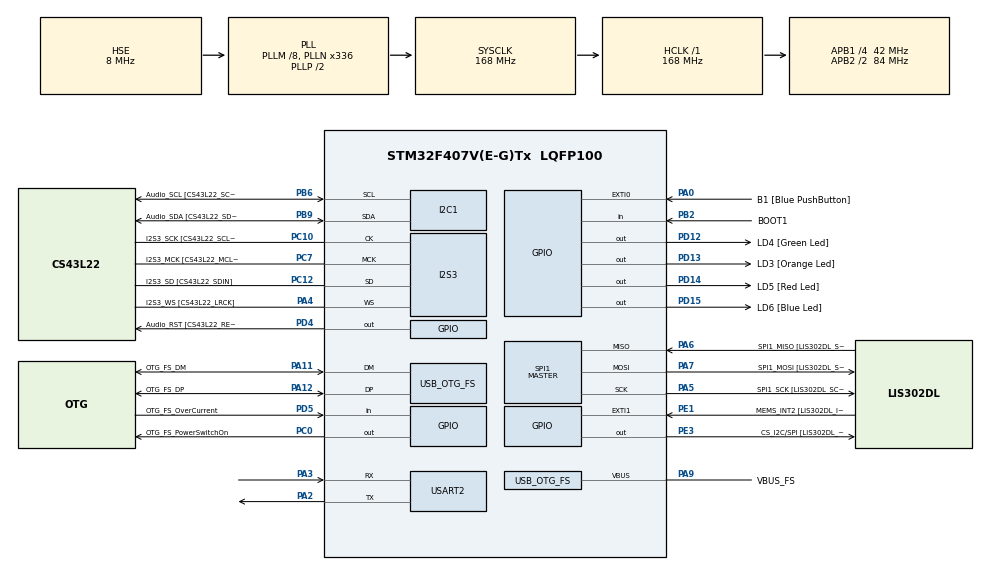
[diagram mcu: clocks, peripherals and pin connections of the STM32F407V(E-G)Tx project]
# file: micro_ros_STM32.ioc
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Dma.Request0=USART2_RX
Dma.Request1=USART2_TX
Dma.USART2_RX.0.Direction=DMA_PERIPH_TO_MEMORY
Dma.USART2_RX.0.FIFOMode=DMA_FIFOMODE_DISABLE
Dma.USART2_RX.0.Instance=DMA1_Stream5
Dma.USART2_RX.0.MemDataAlignment=DMA_MDATAALIGN_BYTE
Dma.USART2_RX.0.MemInc=DMA_MINC_ENABLE
Dma.USART2_RX.0.Mode=DMA_CIRCULAR
Dma.USART2_RX.0.PeriphDataAlignment=DMA_PDATAALIGN_BYTE
Dma.USART2_RX.0.PeriphInc=DMA_PINC_DISABLE
Dma.USART2_RX.0.Priority=DMA_PRIORITY_VERY_HIGH
Dma.USART2_TX.1.Direction=DMA_MEMORY_TO_PERIPH
Dma.USART2_TX.1.FIFOMode=DMA_FIFOMODE_DISABLE
Dma.USART2_TX.1.Instance=DMA1_Stream6
Dma.USART2_TX.1.MemDataAlignment=DMA_MDATAALIGN_BYTE
Dma.USART2_TX.1.MemInc=DMA_MINC_ENABLE
Dma.USART2_TX.1.Mode=DMA_NORMAL
Dma.USART2_TX.1.PeriphDataAlignment=DMA_PDATAALIGN_BYTE
Dma.USART2_TX.1.PeriphInc=DMA_PINC_DISABLE
Dma.USART2_TX.1.Priority=DMA_PRIORITY_VERY_HIGH
FREERTOS.Tasks01=defaultTask,24,3000,StartDefaultTask,Default,NULL,Dynamic,NULL,NULL
I2S3.AudioFreq-Half_Duplex_Master=I2S_AUDIOFREQ_96K
I2S3.ErrorAudioFreq=-2.34 %
I2S3.ErrorAudioFreq-Half_Duplex_Master=0.8 %
I2S3.FullDuplexMode=I2S_FULLDUPLEXMODE_DISABLE
I2S3.Instance=SPI$Index
I2S3.RealAudioFreq=93.75 KHz
I2S3.RealAudioFreq-Half_Duplex_Master=96.774 KHz
I2S3.VirtualMode=I2S_MODE_MASTER
Mcu.Family=STM32F4
Mcu.Name=STM32F407V(E-G)Tx
Mcu.Package=LQFP100
NVIC.DMA1_Stream5_IRQn=true\:5\:0\:false\:false\:true\:true\:false\:true\:true
NVIC.DMA1_Stream6_IRQn=true\:5\:0\:false\:false\:true\:true\:false\:true\:true
NVIC.OTG_FS_IRQn=true\:5\:0\:false\:false\:true\:true\:true\:true\:true
NVIC.PriorityGroup=NVIC_PRIORITYGROUP_4
NVIC.TIM1_UP_TIM10_IRQn=true\:15\:0\:false\:false\:true\:false\:false\:true\:true
NVIC.TimeBase=TIM1_UP_TIM10_IRQn
NVIC.TimeBaseIP=TIM1
NVIC.USART2_IRQn=true\:5\:0\:false\:false\:true\:true\:true\:true\:true
PA0-WKUP.GPIO_Label=B1 [Blue PushButton]
PA0-WKUP.GPIO_ModeDefaultEXTI=GPIO_MODE_EVT_RISING
PA0-WKUP.GPIO_PuPd=GPIO_NOPULL
PA0-WKUP.Signal=GPXTI0
PA10.GPIO_Label=OTG_FS_ID
PA10.GPIO_Mode=GPIO_MODE_AF_PP
PA10.GPIO_PuPd=GPIO_NOPULL
PA10.GPIO_Speed=GPIO_SPEED_FREQ_LOW
PA10.Signal=USB_OTG_FS_ID
PA11.GPIO_Label=OTG_FS_DM
PA11.GPIO_Mode=GPIO_MODE_AF_PP
PA11.GPIO_PuPd=GPIO_NOPULL
PA11.GPIO_Speed=GPIO_SPEED_FREQ_LOW
PA11.Mode=Host_Only
PA11.Signal=USB_OTG_FS_DM
PA12.GPIO_Label=OTG_FS_DP
PA12.GPIO_Mode=GPIO_MODE_AF_PP
PA12.GPIO_PuPd=GPIO_NOPULL
PA12.GPIO_Speed=GPIO_SPEED_FREQ_LOW
PA12.Mode=Host_Only
PA12.Signal=USB_OTG_FS_DP
PA13.GPIO_Label=SWDIO
PA13.Mode=Serial_Wire
PA13.Signal=SYS_JTMS-SWDIO
PA14.GPIO_Label=SWCLK
PA14.Mode=Serial_Wire
PA14.Signal=SYS_JTCK-SWCLK
PA2.Mode=Asynchronous
PA2.Signal=USART2_TX
PA3.Mode=Asynchronous
PA3.Signal=USART2_RX
PA4.GPIO_Label=I2S3_WS [CS43L22_LRCK]
PA4.GPIO_Mode=GPIO_MODE_AF_PP
PA4.GPIO_PuPd=GPIO_NOPULL
PA4.GPIO_Speed=GPIO_SPEED_FREQ_LOW
PA4.Mode=Half_Duplex_Master
PA4.Signal=I2S3_WS
PA5.GPIO_Label=SPI1_SCK [LIS302DL_SCL/SPC]
PA5.GPIO_Mode=GPIO_MODE_AF_PP
PA5.GPIO_PuPd=GPIO_NOPULL
PA5.GPIO_Speed=GPIO_SPEED_FREQ_LOW
PA5.Mode=Full_Duplex_Master
PA5.Signal=SPI1_SCK
PA6.GPIO_Label=SPI1_MISO [LIS302DL_SDO]
PA6.GPIO_Mode=GPIO_MODE_AF_PP
PA6.GPIO_PuPd=GPIO_NOPULL
PA6.GPIO_Speed=GPIO_SPEED_FREQ_LOW
PA6.Mode=Full_Duplex_Master
PA6.Signal=SPI1_MISO
PA7.GPIO_Label=SPI1_MOSI [LIS302DL_SDA/SDI/SDO]
PA7.GPIO_Mode=GPIO_MODE_AF_PP
PA7.GPIO_PuPd=GPIO_NOPULL
PA7.GPIO_Speed=GPIO_SPEED_FREQ_LOW
PA7.Mode=Full_Duplex_Master
PA7.Signal=SPI1_MOSI
PA9.GPIO_Label=VBUS_FS
PA9.GPIO_Mode=GPIO_MODE_INPUT
PA9.GPIO_PuPd=GPIO_NOPULL
PA9.Mode=Activate_VBUS
PA9.Signal=USB_OTG_FS_VBUS
PB10.GPIO_Label=CLK_IN [MP45DT02_CLK]
PB10.GPIO_Mode=GPIO_MODE_AF_PP
PB10.GPIO_PuPd=GPIO_NOPULL
PB10.GPIO_Speed=GPIO_SPEED_FREQ_LOW
PB10.Signal=I2S2_CK
PB2.GPIO_Label=BOOT1
PB2.GPIO_Mode=GPIO_MODE_INPUT
PB2.GPIO_PuPd=GPIO_NOPULL
PB2.Signal=GPIO_Input
PB3.GPIO_Label=SWO
PB3.Signal=SYS_JTDO-SWO
PB6.GPIO_Label=Audio_SCL [CS43L22_SCL]
PB6.GPIO_Mode=GPIO_MODE_AF_OD
PB6.GPIO_Pu=GPIO_PULLUP
PB6.GPIO_PuPd=GPIO_NOPULL
PB6.GPIO_Speed=GPIO_SPEED_FREQ_LOW
PB6.Mode=I2C
PB6.Signal=I2C1_SCL
PB9.GPIO_Label=Audio_SDA [CS43L22_SDA]
PB9.GPIO_Mode=GPIO_MODE_AF_OD
PB9.GPIO_Pu=GPIO_PULLUP
PB9.GPIO_PuPd=GPIO_NOPULL
PB9.GPIO_Speed=GPIO_SPEED_FREQ_LOW
PB9.Mode=I2C
PB9.Signal=I2C1_SDA
PC0.GPIO_Label=OTG_FS_PowerSwitchOn
PC0.GPIO_PuPd=GPIO_NOPULL
PC0.GPIO_Speed=GPIO_SPEED_FREQ_LOW
PC0.PinState=GPIO_PIN_SET
PC0.Signal=GPIO_Output
PC10.GPIO_Label=I2S3_SCK [CS43L22_SCLK]
PC10.GPIO_Mode=GPIO_MODE_AF_PP
PC10.GPIO_PuPd=GPIO_NOPULL
PC10.GPIO_Speed=GPIO_SPEED_FREQ_LOW
PC10.Mode=Half_Duplex_Master
PC10.Signal=I2S3_CK
PC12.GPIO_Label=I2S3_SD [CS43L22_SDIN]
PC12.GPIO_Mode=GPIO_MODE_AF_PP
PC12.GPIO_PuPd=GPIO_NOPULL
PC12.GPIO_Speed=GPIO_SPEED_FREQ_LOW
PC12.Mode=Half_Duplex_Master
PC12.Signal=I2S3_SD
PC14-OSC32_IN.GPIO_Label=PC14-OSC32_IN
PC14-OSC32_IN.Mode=LSE-External-Oscillator
PC14-OSC32_IN.Signal=RCC_OSC32_IN
PC15-OSC32_OUT.GPIO_Label=PC15-OSC32_OUT
PC15-OSC32_OUT.Mode=LSE-External-Oscillator
PC15-OSC32_OUT.Signal=RCC_OSC32_OUT
PC3.GPIO_Label=PDM_OUT [MP45DT02_DOUT]
PC3.GPIO_Mode=GPIO_MODE_AF_PP
PC3.GPIO_PuPd=GPIO_NOPULL
PC3.GPIO_Speed=GPIO_SPEED_FREQ_LOW
PC3.Signal=I2S2_SD
PC7.GPIO_Label=I2S3_MCK [CS43L22_MCLK]
PC7.GPIO_Mode=GPIO_MODE_AF_PP
PC7.GPIO_PuPd=GPIO_NOPULL
PC7.GPIO_Speed=GPIO_SPEED_FREQ_LOW
PC7.Mode=Master_Clock_Activated
PC7.Signal=I2S3_MCK
PD12.GPIO_Label=LD4 [Green Led]
PD12.GPIO_PuPd=GPIO_NOPULL
PD12.GPIO_Speed=GPIO_SPEED_FREQ_LOW
PD12.Signal=GPIO_Output
PD13.GPIO_Label=LD3 [Orange Led]
PD13.GPIO_PuPd=GPIO_NOPULL
PD13.GPIO_Speed=GPIO_SPEED_FREQ_LOW
PD13.Signal=GPIO_Output
PD14.GPIO_Label=LD5 [Red Led]
PD14.GPIO_PuPd=GPIO_NOPULL
PD14.GPIO_Speed=GPIO_SPEED_FREQ_LOW
PD14.Signal=GPIO_Output
PD15.GPIO_Label=LD6 [Blue Led]
PD15.GPIO_PuPd=GPIO_NOPULL
PD15.GPIO_Speed=GPIO_SPEED_FREQ_LOW
PD15.Signal=GPIO_Output
PD4.GPIO_Label=Audio_RST [CS43L22_RESET]
PD4.GPIO_PuPd=GPIO_NOPULL
PD4.GPIO_Speed=GPIO_SPEED_FREQ_LOW
PD4.Signal=GPIO_Output
PD5.GPIO_Label=OTG_FS_OverCurrent
PD5.GPIO_Mode=GPIO_MODE_INPUT
PD5.GPIO_PuPd=GPIO_NOPULL
PD5.Signal=GPIO_Input
PE1.GPIO_Label=MEMS_INT2 [LIS302DL_INT2]
PE1.GPIO_ModeDefaultEXTI=GPIO_MODE_EVT_RISING
PE1.GPIO_PuPd=GPIO_NOPULL
PE1.Signal=GPXTI1
PE3.GPIO_Label=CS_I2C/SPI [LIS302DL_CS_I2C/SPI]
PE3.GPIO_PuPd=GPIO_NOPULL
PE3.GPIO_Speed=GPIO_SPEED_FREQ_LOW
PE3.Signal=GPIO_Output
PH0-OSC_IN.GPIO_Label=PH0-OSC_IN
PH0-OSC_IN.Mode=HSE-External-Oscillator
PH0-OSC_IN.Signal=RCC_OSC_IN
PH1-OSC_OUT.GPIO_Label=PH1-OSC_OUT
PH1-OSC_OUT.Mode=HSE-External-Oscillator
PH1-OSC_OUT.Signal=RCC_OSC_OUT
ProjectManager.HeapSize=0x200
ProjectManager.StackSize=0x400
ProjectManager.TargetToolchain=STM32CubeIDE
RCC.48MHZClocksFreq_Value=48000000
RCC.AHBFreq_Value=168000000
RCC.APB1CLKDivider=RCC_HCLK_DIV4
RCC.APB1Freq_Value=42000000
RCC.APB1TimFreq_Value=84000000
RCC.APB2CLKDivider=RCC_HCLK_DIV2
RCC.APB2Freq_Value=84000000
RCC.APB2TimFreq_Value=168000000
RCC.CortexFreq_Value=168000000
RCC.HCLKFreq_Value=168000000
RCC.HSE_VALUE=8000000
RCC.HSI_VALUE=16000000
RCC.PLLM=8
RCC.PLLN=336
RCC.PLLQ=7
RCC.SYSCLKFreq_VALUE=168000000
RCC.SYSCLKSource=RCC_SYSCLKSOURCE_PLLCLK
RCC.VCOOutputFreq_Value=336000000
SPI1.BaudRatePrescaler-Full_Duplex_Master=SPI_BAUDRATEPRESCALER_2
SPI1.CalculateBaudRate-Full_Duplex_Master=42.0 MBits/s
SPI1.Direction=SPI_DIRECTION_2LINES
SPI1.Mode=SPI_MODE_MASTER
SPI1.Mode-Full_Duplex_Master=SPI_MODE_MASTER
SPI1.VirtualType=VM_MASTER
USART2.VirtualMode=VM_ASYNC
USB_HOST.BSP.number=1
USB_HOST.USBH_HandleTypeDef-CDC_FS=hUsbHostFS
USB_HOST.USBH_USE_OS-CDC_FS=0
USB_HOST.VirtualModeFS=Cdc
USB_HOST0.BSP.STBoard=false
USB_HOST0.BSP.api=Unknown
USB_HOST0.BSP.instance=PC0
USB_HOST0.BSP.ip=GPIO
USB_HOST0.BSP.mode=Output
USB_HOST0.BSP.name=Drive_VBUS_FS
USB_HOST0.BSP.solution=PC0
USB_OTG_FS.VirtualMode=Host_Only
USB_OTG_FS.phy_itface=HCD_PHY_EMBEDDED
VP_FREERTOS_VS_CMSIS_V2.Mode=CMSIS_V2
VP_SYS_VS_tim1.Mode=TIM1
VP_USB_HOST_VS_USB_HOST_CDC_FS.Mode=CDC_FS
board=STM32F407G-DISC1

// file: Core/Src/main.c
/* USER CODE BEGIN Header */
/**
  ******************************************************************************
  * @file           : main.c
  * @brief          : Main program body
  ******************************************************************************
  * @attention
  *
  * Copyright (c) 2025 STMicroelectronics.
  * All rights reserved.
  *
  * This software is licensed under terms that can be found in the LICENSE file
  * in the root directory of this software component.
  * If no LICENSE file comes with this software, it is provided AS-IS.
  *
  ******************************************************************************
  */
/* USER CODE END Header */
#include "main.h"
#include "cmsis_os.h"
#include "usb_host.h"

/* USER CODE BEGIN Includes */
#include <rcl/rcl.h>
#include <rcl/error_handling.h>
#include <rclc/rclc.h>
#include <rclc/executor.h>
#include <uxr/client/transport.h>
#include <rmw_microxrcedds_c/config.h>
#include <rmw_microros/rmw_microros.h>

#include <std_msgs/msg/int32.h>
#include <std_msgs/msg/empty.h>

#include"FreeRTOS.h"
#include"task.h"
#include "semphr.h"
/* USER CODE END Includes */

I2C_HandleTypeDef hi2c1;

I2S_HandleTypeDef hi2s3;

SPI_HandleTypeDef hspi1;

UART_HandleTypeDef huart2;
DMA_HandleTypeDef hdma_usart2_rx;
DMA_HandleTypeDef hdma_usart2_tx;

/* Definitions for defaultTask */
osThreadId_t defaultTaskHandle;
const osThreadAttr_t defaultTask_attributes = {
  .name = "defaultTask",
  .stack_size = 3000 * 4,
  .priority = (osPriority_t) osPriorityNormal,
};

void SystemClock_Config(void);
static void MX_GPIO_Init(void);
static void MX_DMA_Init(void);
static void MX_I2C1_Init(void);
static void MX_I2S3_Init(void);
static void MX_SPI1_Init(void);
static void MX_USART2_UART_Init(void);
void StartDefaultTask(void *argument);

/* USER CODE BEGIN 0 */
#ifdef __GNUC__          // GCC / arm-none-eabi-gcc
int __io_putchar(int ch)
{
    HAL_UART_Transmit(&huart2, (uint8_t *)&ch, 1, HAL_MAX_DELAY);
    return ch;
}
#else
int fputc(int ch, FILE *f)
{
    HAL_UART_Transmit(&huart2, (uint8_t *)&ch, 1, HAL_MAX_DELAY);
    return ch;
}
#endif

volatile bool lcd_need_refresh = false;
BaseType_t xReturned;
TaskHandle_t xcoinHandle=NULL;
TaskHandle_t xpulseHandle=NULL;
UART_HandleTypeDef huart2;

#define LCD_ADDRESS (0x27 << 1)

int i=0;
int impulse=0;
int total=0;
int day=1;
int now=0;
char MonitorTset[100];
SemaphoreHandle_t i2cMutex;

void lcd_send_cmd(char cmd)
{
//	xSemaphoreTake(i2cMutex, portMAX_DELAY);

	char data_h,data_l;
	uint8_t frame_data[4];
	data_h = (cmd&0xf0);
	data_l = ((cmd <<4)&0xf0);
	frame_data[0] = data_h | 0x0C;
	frame_data[1] = data_h | 0x08;
	frame_data[2] = data_l | 0x0C;
	frame_data[3] = data_l | 0x08;

	HAL_I2C_Master_Transmit(&hi2c1,LCD_ADDRESS,(uint8_t *)frame_data,4,0x100);

	//HAL_Delay(1);
//	xSemaphoreGive(i2cMutex);
}

void lcd_send_data(char data)
{
	char data_h,data_l;
	uint8_t frame_data[4];
	data_h = (data&0xf0);
	data_l = ((data <<4)&0xf0);
	frame_data[0] = data_h | 0x0D;
	frame_data[1] = data_h | 0x09;
	frame_data[2] = data_l | 0x0D;
	frame_data[3] = data_l | 0x09;

	HAL_I2C_Master_Transmit(&hi2c1,LCD_ADDRESS,(uint8_t *)frame_data,4,0x100);

	//HAL_Delay(1);
}

void lcd_clear()
{
	lcd_send_cmd(0x01); // clear display
	HAL_Delay(1);
}

void lcd_Init()
{
	HAL_Delay(50); // 8-bit initialization start
	lcd_send_cmd(0x30);
	HAL_Delay(5);
	lcd_send_cmd(0x30);
	HAL_Delay(1);
	lcd_send_cmd(0x30);
	HAL_Delay(10);
	lcd_send_cmd(0x20);
	HAL_Delay(10); // 8-bit initialization finish

	lcd_send_cmd(0x28);		//function set
	HAL_Delay(1);
	lcd_send_cmd(0x08);		//Display on/off
	HAL_Delay(1);
	lcd_send_cmd(0x01);		//clear display
	HAL_Delay(1);
	lcd_send_cmd(0x06);		//Enter mode set
	HAL_Delay(1);
	lcd_send_cmd(0x0C);		//Display on/off
	HAL_Delay(1);

}

void lcd_send_string (char *str)
{
	while(*str)
	{
		lcd_send_data(*str++);
	}
	HAL_Delay(1);
}

void lcd_put_cur(uint8_t row,uint8_t col) // the location on the lcd screen
{
	lcd_send_cmd(0x80 | (col + (0x40 * row)));
}

void I2C_Scan(I2C_HandleTypeDef *hi2c) {
    char msg[64];
    for (uint8_t addr = 1; addr < 127; addr++) {
        if (HAL_I2C_IsDeviceReady(hi2c, addr << 1, 1, 10) == HAL_OK) {
            sprintf(msg, "Found device at 0x%02X\r\n", addr << 1);
            HAL_UART_Transmit(&huart2, (uint8_t*)msg, strlen(msg), 0xffff);
        }
    }
}

void incomingImpulse() {
	for (;;) {
		if(HAL_GPIO_ReadPin(GPIOA, GPIO_PIN_0) == 0) {
			while(HAL_GPIO_ReadPin(GPIOA, GPIO_PIN_0) == 0){}
			impulse = impulse + 1;
			i = 0;
		}
	}
}

void COIN_Task() {
  // put your main code here, to run repeatedly:

	memset(MonitorTset,'\0',sizeof(MonitorTset));
	I2C_Scan(&hi2c1);
	for (;;) {

	 if (lcd_need_refresh) {
			lcd_need_refresh = false;
			lcd_clear();
			lcd_put_cur(0, 0);
			lcd_send_string("Money reset!");
			lcd_put_cur(1, 0);
			lcd_send_string("Total = 0");
		}

	  i = i + 1;

	  if (i >= 5 && impulse == 1){ // 10 dollar
		total = total + 10;
		now = now + 10;

		while (day <= now){
		  now = now - day;
		  day = day + 1;
		}

		// uart
		sprintf(MonitorTset,"The day is %d. Today already saved %d. The total value is %d.\n\r",day, now, total);
//		HAL_UART_Transmit(&huart2,(uint8_t *)MonitorTset,strlen(MonitorTset),0xffff);

		lcd_clear();
		lcd_put_cur(0,0);
		lcd_send_string("Insert 10 dollar.");
		lcd_put_cur(1,0);
		sprintf(MonitorTset,"Total value is %d", total);
		lcd_send_string(MonitorTset);

		impulse = 0;
	  }
	  else if (i >= 5 && impulse == 2){ // 5 dollar
		total = total + 5;
		now = now + 5;

		while(day <= now){
		  now = now - day;
		  day = day + 1;
		}

		sprintf(MonitorTset,"The day is %d. Today already saved %d. The total value is %d.\n\r",day, now, total);
//		HAL_UART_Transmit(&huart2,(uint8_t *)MonitorTset,strlen(MonitorTset),0xffff);

		lcd_clear();
		lcd_put_cur(0,0);
		lcd_send_string("Insert 5 dollar.");
		lcd_put_cur(1,0);
		sprintf(MonitorTset,"Total value is %d", total);
		lcd_send_string(MonitorTset);

		impulse = 0;
	  }
	  else if (i >= 5 && impulse == 3){ // 1 dollar
		total = total + 1;
		now = now + 1;

		while(day <= now){
		  now = now - day;
		  day = day + 1;
		}

		sprintf(MonitorTset,"The day is %d. Today already saved %d. The total value is %d.\n\r",day, now, total);
//		HAL_UART_Transmit(&huart2,(uint8_t *)MonitorTset,strlen(MonitorTset),0xffff);

		lcd_clear();
		lcd_put_cur(0,0);
		lcd_send_string("Insert 1 dollar.");
		lcd_put_cur(1,0);
		sprintf(MonitorTset,"Total value is %d", total);
		lcd_send_string(MonitorTset);

		impulse=0;
	  }

	  if (day > 365){
		day = 1;
	  }

	  vTaskDelay(100);
	}
}

//void USART_Test(void *pvParameters){
//	uint32_t Monitortimer = 400;
//	char MonitorTset[30];
//	char num[15];
//	int i = 0;
//	while(1){
//		memset(MonitorTset,'\0',sizeof(MonitorTset));
//		memset(num,'\0',sizeof(num));
//		itoa(i,num,10);
//		strcat(num," ");
//		sprintf(MonitorTset,"The point is %s\n\r",num);
//		HAL_UART_Transmit(&huart2,(uint8_t *)MonitorTset,strlen(MonitorTset),0xffff);
//		vTaskDelay(Monitortimer);
//		Monitortimer += 1;
//		i += 1;
//	}
//}

void reset_callback(const void * msgin)
{
  (void) msgin;
  total = 0;
  now   = 0;
  day   = 1;
//  i = 0;
  lcd_need_refresh = true;
  printf("Received /money_reset, total reset to 0.\n");
}

/* USER CODE END 0 */

int main(void)
{

  /* MCU Configuration--------------------------------------------------------*/

  /* Reset of all peripherals, Initializes the Flash interface and the Systick. */
  HAL_Init();

  /* Configure the system clock */
  SystemClock_Config();

  /* Initialize all configured peripherals */
  MX_GPIO_Init();
  MX_DMA_Init();
  MX_I2C1_Init();
  MX_I2S3_Init();
  MX_SPI1_Init();
  MX_USART2_UART_Init();
  /* USER CODE BEGIN 2 */
//  for (int i = 0; i < 10; i++) {
//  	    char msg[32];
//  	    sprintf(msg, "Count: %d\r\n", i);
//  	    HAL_UART_Transmit(&huart2, (uint8_t*)msg, strlen(msg), HAL_MAX_DELAY);
//  	  HAL_Delay(1000);
//  	}

  HAL_Delay(30);
  lcd_Init();

  const osThreadAttr_t coinTask_attributes = {
    .name = "COIN_Task",
    .priority = osPriorityNormal,
    .stack_size = 128 * 4
  };

  const osThreadAttr_t impulseTask_attributes = {
    .name = "Impulse",
    .priority = osPriorityNormal,
    .stack_size = 128 * 4
  };

//  vTaskStartScheduler();
  /* USER CODE END 2 */

  /* Init scheduler */
  osKernelInitialize();

  /* Create the thread(s) */
  /* creation of defaultTask */
  defaultTaskHandle = osThreadNew(StartDefaultTask, NULL, &defaultTask_attributes);
  osThreadNew(COIN_Task, NULL, &coinTask_attributes);
  osThreadNew(incomingImpulse, NULL, &impulseTask_attributes);

  /* Start scheduler */
  osKernelStart();

  /* We should never get here as control is now taken by the scheduler */

  /* Infinite loop */
  /* USER CODE BEGIN WHILE */
  sprintf(MonitorTset,"The day is %d. Today already saved %d. The total value is %d.\n\r",day, now, total);
//  HAL_UART_Transmit(&huart2,(uint8_t *)MonitorTset,strlen(MonitorTset),0xffff);
  while (1)
  {
    /* USER CODE END WHILE */

  }
}

void SystemClock_Config(void)
{
  RCC_OscInitTypeDef RCC_OscInitStruct = {0};
  RCC_ClkInitTypeDef RCC_ClkInitStruct = {0};

  /** Configure the main internal regulator output voltage
  */
  __HAL_RCC_PWR_CLK_ENABLE();
  __HAL_PWR_VOLTAGESCALING_CONFIG(PWR_REGULATOR_VOLTAGE_SCALE1);

  /** Initializes the RCC Oscillators according to the specified parameters
  * in the RCC_OscInitTypeDef structure.
  */
  RCC_OscInitStruct.OscillatorType = RCC_OSCILLATORTYPE_HSE;
  RCC_OscInitStruct.HSEState = RCC_HSE_ON;
  RCC_OscInitStruct.PLL.PLLState = RCC_PLL_ON;
  RCC_OscInitStruct.PLL.PLLSource = RCC_PLLSOURCE_HSE;
  RCC_OscInitStruct.PLL.PLLM = 8;
  RCC_OscInitStruct.PLL.PLLN = 336;
  RCC_OscInitStruct.PLL.PLLP = RCC_PLLP_DIV2;
  RCC_OscInitStruct.PLL.PLLQ = 7;
  if (HAL_RCC_OscConfig(&RCC_OscInitStruct) != HAL_OK)
  {
    Error_Handler();
  }

  /** Initializes the CPU, AHB and APB buses clocks
  */
  RCC_ClkInitStruct.ClockType = RCC_CLOCKTYPE_HCLK|RCC_CLOCKTYPE_SYSCLK
                              |RCC_CLOCKTYPE_PCLK1|RCC_CLOCKTYPE_PCLK2;
  RCC_ClkInitStruct.SYSCLKSource = RCC_SYSCLKSOURCE_PLLCLK;
  RCC_ClkInitStruct.AHBCLKDivider = RCC_SYSCLK_DIV1;
  RCC_ClkInitStruct.APB1CLKDivider = RCC_HCLK_DIV4;
  RCC_ClkInitStruct.APB2CLKDivider = RCC_HCLK_DIV2;

  if (HAL_RCC_ClockConfig(&RCC_ClkInitStruct, FLASH_LATENCY_5) != HAL_OK)
  {
    Error_Handler();
  }
}

static void MX_I2C1_Init(void)
{

  hi2c1.Instance = I2C1;
  hi2c1.Init.ClockSpeed = 100000;
  hi2c1.Init.DutyCycle = I2C_DUTYCYCLE_2;
  hi2c1.Init.OwnAddress1 = 0;
  hi2c1.Init.AddressingMode = I2C_ADDRESSINGMODE_7BIT;
  hi2c1.Init.DualAddressMode = I2C_DUALADDRESS_DISABLE;
  hi2c1.Init.OwnAddress2 = 0;
  hi2c1.Init.GeneralCallMode = I2C_GENERALCALL_DISABLE;
  hi2c1.Init.NoStretchMode = I2C_NOSTRETCH_DISABLE;
  if (HAL_I2C_Init(&hi2c1) != HAL_OK)
  {
    Error_Handler();
  }

}

static void MX_I2S3_Init(void)
{

  hi2s3.Instance = SPI3;
  hi2s3.Init.Mode = I2S_MODE_MASTER_TX;
  hi2s3.Init.Standard = I2S_STANDARD_PHILIPS;
  hi2s3.Init.DataFormat = I2S_DATAFORMAT_16B;
  hi2s3.Init.MCLKOutput = I2S_MCLKOUTPUT_ENABLE;
  hi2s3.Init.AudioFreq = I2S_AUDIOFREQ_96K;
  hi2s3.Init.CPOL = I2S_CPOL_LOW;
  hi2s3.Init.ClockSource = I2S_CLOCK_PLL;
  hi2s3.Init.FullDuplexMode = I2S_FULLDUPLEXMODE_DISABLE;
  if (HAL_I2S_Init(&hi2s3) != HAL_OK)
  {
    Error_Handler();
  }

}

static void MX_SPI1_Init(void)
{

  /* SPI1 parameter configuration*/
  hspi1.Instance = SPI1;
  hspi1.Init.Mode = SPI_MODE_MASTER;
  hspi1.Init.Direction = SPI_DIRECTION_2LINES;
  hspi1.Init.DataSize = SPI_DATASIZE_8BIT;
  hspi1.Init.CLKPolarity = SPI_POLARITY_LOW;
  hspi1.Init.CLKPhase = SPI_PHASE_1EDGE;
  hspi1.Init.NSS = SPI_NSS_SOFT;
  hspi1.Init.BaudRatePrescaler = SPI_BAUDRATEPRESCALER_2;
  hspi1.Init.FirstBit = SPI_FIRSTBIT_MSB;
  hspi1.Init.TIMode = SPI_TIMODE_DISABLE;
  hspi1.Init.CRCCalculation = SPI_CRCCALCULATION_DISABLE;
  hspi1.Init.CRCPolynomial = 10;
  if (HAL_SPI_Init(&hspi1) != HAL_OK)
  {
    Error_Handler();
  }

}

static void MX_USART2_UART_Init(void)
{

  huart2.Instance = USART2;
  huart2.Init.BaudRate = 115200;
  huart2.Init.WordLength = UART_WORDLENGTH_8B;
  huart2.Init.StopBits = UART_STOPBITS_1;
  huart2.Init.Parity = UART_PARITY_NONE;
  huart2.Init.Mode = UART_MODE_TX_RX;
  huart2.Init.HwFlowCtl = UART_HWCONTROL_NONE;
  huart2.Init.OverSampling = UART_OVERSAMPLING_16;
  if (HAL_UART_Init(&huart2) != HAL_OK)
  {
    Error_Handler();
  }

}

static void MX_DMA_Init(void)
{

  /* DMA controller clock enable */
  __HAL_RCC_DMA1_CLK_ENABLE();

  /* DMA interrupt init */
  /* DMA1_Stream5_IRQn interrupt configuration */
  HAL_NVIC_SetPriority(DMA1_Stream5_IRQn, 5, 0);
  HAL_NVIC_EnableIRQ(DMA1_Stream5_IRQn);
  /* DMA1_Stream6_IRQn interrupt configuration */
  HAL_NVIC_SetPriority(DMA1_Stream6_IRQn, 5, 0);
  HAL_NVIC_EnableIRQ(DMA1_Stream6_IRQn);

}

static void MX_GPIO_Init(void)
{
  GPIO_InitTypeDef GPIO_InitStruct = {0};

  /* GPIO Ports Clock Enable */
  __HAL_RCC_GPIOC_CLK_ENABLE();
  __HAL_RCC_GPIOH_CLK_ENABLE();
  __HAL_RCC_GPIOA_CLK_ENABLE();
  __HAL_RCC_GPIOB_CLK_ENABLE();
  __HAL_RCC_GPIOD_CLK_ENABLE();
  __HAL_RCC_GPIOE_CLK_ENABLE();

  /*Configure GPIO pin Output Level */
  HAL_GPIO_WritePin(OTG_FS_PowerSwitchOn_GPIO_Port, OTG_FS_PowerSwitchOn_Pin, GPIO_PIN_SET);

  /*Configure GPIO pin Output Level */
  HAL_GPIO_WritePin(GPIOD, LD4_Pin|LD3_Pin|LD5_Pin|LD6_Pin
                          |Audio_RST_Pin, GPIO_PIN_RESET);

  /*Configure GPIO pin : OTG_FS_PowerSwitchOn_Pin */
  GPIO_InitStruct.Pin = OTG_FS_PowerSwitchOn_Pin;
  GPIO_InitStruct.Mode = GPIO_MODE_OUTPUT_PP;
  GPIO_InitStruct.Pull = GPIO_NOPULL;
  GPIO_InitStruct.Speed = GPIO_SPEED_FREQ_LOW;
  HAL_GPIO_Init(OTG_FS_PowerSwitchOn_GPIO_Port, &GPIO_InitStruct);

  /*Configure GPIO pin : PDM_OUT_Pin */
  GPIO_InitStruct.Pin = PDM_OUT_Pin;
  GPIO_InitStruct.Mode = GPIO_MODE_AF_PP;
  GPIO_InitStruct.Pull = GPIO_NOPULL;
  GPIO_InitStruct.Speed = GPIO_SPEED_FREQ_LOW;
  GPIO_InitStruct.Alternate = GPIO_AF5_SPI2;
  HAL_GPIO_Init(PDM_OUT_GPIO_Port, &GPIO_InitStruct);

  /*Configure GPIO pin : BOOT1_Pin */
  GPIO_InitStruct.Pin = BOOT1_Pin;
  GPIO_InitStruct.Mode = GPIO_MODE_INPUT;
  GPIO_InitStruct.Pull = GPIO_NOPULL;
  HAL_GPIO_Init(BOOT1_GPIO_Port, &GPIO_InitStruct);

  /*Configure GPIO pin : CLK_IN_Pin */
  GPIO_InitStruct.Pin = CLK_IN_Pin;
  GPIO_InitStruct.Mode = GPIO_MODE_AF_PP;
  GPIO_InitStruct.Pull = GPIO_NOPULL;
  GPIO_InitStruct.Speed = GPIO_SPEED_FREQ_LOW;
  GPIO_InitStruct.Alternate = GPIO_AF5_SPI2;
  HAL_GPIO_Init(CLK_IN_GPIO_Port, &GPIO_InitStruct);

  /*Configure GPIO pins : LD4_Pin LD3_Pin LD5_Pin LD6_Pin
                           Audio_RST_Pin */
  GPIO_InitStruct.Pin = LD4_Pin|LD3_Pin|LD5_Pin|LD6_Pin
                          |Audio_RST_Pin;
  GPIO_InitStruct.Mode = GPIO_MODE_OUTPUT_PP;
  GPIO_InitStruct.Pull = GPIO_NOPULL;
  GPIO_InitStruct.Speed = GPIO_SPEED_FREQ_LOW;
  HAL_GPIO_Init(GPIOD, &GPIO_InitStruct);

  /*Configure GPIO pin : OTG_FS_OverCurrent_Pin */
  GPIO_InitStruct.Pin = OTG_FS_OverCurrent_Pin;
  GPIO_InitStruct.Mode = GPIO_MODE_INPUT;
  GPIO_InitStruct.Pull = GPIO_NOPULL;
  HAL_GPIO_Init(OTG_FS_OverCurrent_GPIO_Port, &GPIO_InitStruct);

  /*Configure GPIO pin : MEMS_INT2_Pin */
  GPIO_InitStruct.Pin = MEMS_INT2_Pin;
  GPIO_InitStruct.Mode = GPIO_MODE_EVT_RISING;
  GPIO_InitStruct.Pull = GPIO_NOPULL;
  HAL_GPIO_Init(MEMS_INT2_GPIO_Port, &GPIO_InitStruct);

}

/* USER CODE BEGIN 4 */
bool cubemx_transport_open(struct uxrCustomTransport * transport);
bool cubemx_transport_close(struct uxrCustomTransport * transport);
size_t cubemx_transport_write(struct uxrCustomTransport* transport, const uint8_t * buf, size_t len, uint8_t * err);
size_t cubemx_transport_read(struct uxrCustomTransport* transport, uint8_t* buf, size_t len, int timeout, uint8_t* err);

void * microros_allocate(size_t size, void * state);
void microros_deallocate(void * pointer, void * state);
void * microros_reallocate(void * pointer, size_t size, void * state);
void * microros_zero_allocate(size_t number_of_elements, size_t size_of_element, void * state);
/* USER CODE END 4 */

void StartDefaultTask(void *argument)
{
    /*---------------- 0. 讓 USB Host 與系統先穩定 ----------------*/
    MX_USB_HOST_Init();      // 若無用到可註解
    HAL_Delay(3000);

    /*---------------- 1. 設定 UART custom transport --------------*/
    rmw_uros_set_custom_transport(
        true,
        (void*)&huart2,
        cubemx_transport_open,
        cubemx_transport_close,
        cubemx_transport_write,
        cubemx_transport_read);

    /*---------------- 2. (可選) 換成 FreeRTOS 記憶體配置 ----------*/
    rcl_allocator_t freeRTOS_allocator = rcutils_get_zero_initialized_allocator();
    freeRTOS_allocator.allocate      = microros_allocate;
    freeRTOS_allocator.deallocate    = microros_deallocate;
    freeRTOS_allocator.reallocate    = microros_reallocate;
    freeRTOS_allocator.zero_allocate = microros_zero_allocate;
    rcutils_set_default_allocator(&freeRTOS_allocator);

    /*---------------- 3. 建立 support (內含 DDS session) ----------*/
    rcl_allocator_t allocator = rcl_get_default_allocator();
    rclc_support_t  support;
    rclc_support_init(&support, 0, NULL, &allocator);

    /*---------------- 4. 建立節點 / 發布者 / 訂閱者 ---------------*/
    rcl_node_t node;
    rclc_node_init_default(&node, "cubemx_node", "", &support);

    /* publisher : /money_count */
    rcl_publisher_t publisher;
    rclc_publisher_init_default(
        &publisher, &node,
        ROSIDL_GET_MSG_TYPE_SUPPORT(std_msgs, msg, Int32),
        "money_count");

    /* subscriber : /money_reset */
    rcl_subscription_t subscriber;
    std_msgs__msg__Empty reset_msg;   // 資料緩衝區
    std_msgs__msg__Empty__init(&reset_msg);
    rclc_subscription_init_default(
        &subscriber, &node,
        ROSIDL_GET_MSG_TYPE_SUPPORT(std_msgs, msg, Empty),
        "money_reset");

    /*---------------- 5. 建立 executor 並加入訂閱 -----------------*/
    rclc_executor_t executor;
    rclc_executor_init(&executor, &support.context, 2, &allocator);
    rclc_executor_add_subscription(
        &executor, &subscriber,
        &reset_msg, &reset_callback, ON_NEW_DATA);

    /*---------------- 6. 主迴圈：送累積金額 + spin ----------------*/
    std_msgs__msg__Int32 msg;
    for (;;)
    {
        msg.data = total;                        // 發布目前總額
        rcl_publish(&publisher, &msg, NULL);

        rclc_executor_spin_some(&executor,
                                RCL_MS_TO_NS(5)); // 處理 /money_reset

        osDelay(10);                             // 10 ms 週期
    }
}

void HAL_TIM_PeriodElapsedCallback(TIM_HandleTypeDef *htim)
{
  if (htim->Instance == TIM1) {
    HAL_IncTick();
  }
}

void Error_Handler(void)
{
  __disable_irq();
  while (1)
  {
  }
}
